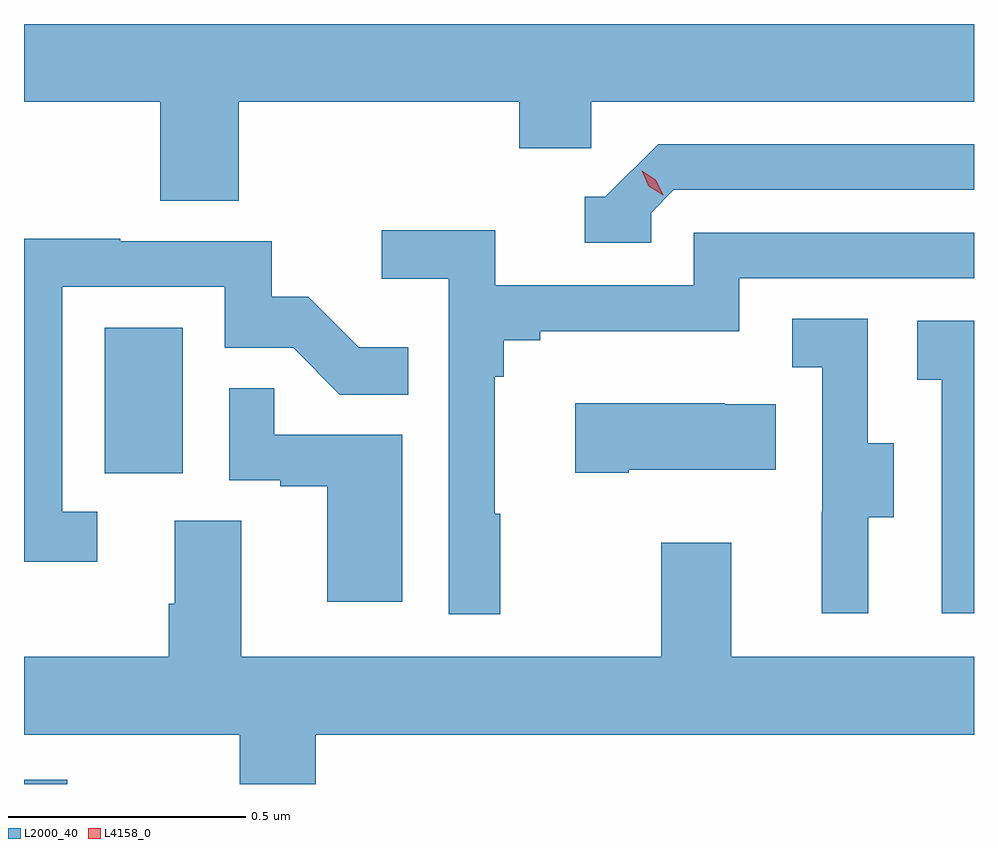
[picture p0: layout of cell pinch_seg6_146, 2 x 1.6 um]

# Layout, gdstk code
import gdstk
lib = gdstk.Library(unit=1e-6, precision=1e-09)
def R(c, l, rs):  # rectangles x0, y0, x1, y1
    for r in rs: c.add(gdstk.rectangle(r[:2], r[2:], *l))
def P(c, l, *ps):  # polygons
    for p in ps: c.add(gdstk.Polygon(p, *l))
L2000_40 = (2000, 40)
L4158_0 = (4158, 0)

pinch_seg6_146 = lib.new_cell('pinch_seg6_146')
R(pinch_seg6_146, L2000_40, [(974.118,917.928,974.209,917.937), (974.288,918.582,974.452,918.889)])
P(pinch_seg6_146, L2000_40, [(974.57,919.364),(975.161,919.364),(975.161,919.266),(975.312,919.266),(975.312,919.364),(976.118,919.364),(976.118,919.528),(974.118,919.528),(974.118,919.364),(974.405,919.364),(974.405,919.156),(974.57,919.156)],
  [(975.438,919.131),(975.486,919.179),(976.118,919.179),(976.118,919.275),(975.453,919.275),(975.342,919.164),(975.299,919.164),(975.299,919.068),(975.438,919.068)],
  [(975.121,918.497),(975.109,918.497),(975.109,918.785),(975.128,918.785),(975.128,918.862),(975.205,918.862),(975.205,918.881),(975.624,918.881),(975.624,918.993),(976.118,918.993),(976.118,919.089),(975.528,919.089),(975.528,918.978),(975.11,918.978),(975.11,919.094),(974.871,919.094),(974.871,918.992),(975.012,918.992),(975.012,918.285),(975.121,918.285)],
  [(974.272,918.501),(974.199,918.501),(974.199,918.975),(974.541,918.975),(974.541,918.846),(974.685,918.846),(974.783,918.748),(974.927,918.748),(974.927,918.847),(974.823,918.847),(974.716,918.954),(974.64,918.954),(974.64,919.071),(974.321,919.071),(974.321,919.076),(974.118,919.076),(974.118,918.396),(974.272,918.396)],
  [(975.895,918.49),(975.949,918.49),(975.949,918.645),(975.894,918.645),(975.894,918.908),(975.735,918.908),(975.735,918.805),(975.798,918.805),(975.798,918.501),(975.797,918.501),(975.797,918.288),(975.895,918.288)],
  [(976.118,918.903),(975.999,918.903),(975.999,918.779),(976.05,918.779),(976.05,918.288),(976.118,918.288)],
  [(974.914,918.663),(974.645,918.663),(974.645,918.761),(974.55,918.761),(974.55,918.567),(974.657,918.567),(974.657,918.555),(974.756,918.555),(974.756,918.312),(974.914,918.312)],
  [(975.391,918.59),(975.701,918.59),(975.701,918.727),(975.593,918.727),(975.593,918.73),(975.279,918.73),(975.279,918.583),(975.391,918.583)],
  [(974.732,918.032),(976.118,918.032),(976.118,918.196),(975.607,918.196),(975.607,918.436),(975.46,918.436),(975.46,918.196),(974.575,918.196),(974.575,918.482),(974.435,918.482),(974.435,918.308),(974.423,918.308),(974.423,918.196),(974.118,918.196),(974.118,918.032),(974.572,918.032),(974.572,917.928),(974.732,917.928)])
P(pinch_seg6_146, L4158_0, [(975.464,919.167),(975.433,919.186),(975.418,919.219),(975.418,919.219),(975.418,919.219),(975.448,919.2),(975.464,919.167),(975.464,919.167)])

lib.write_gds('pinch_seg6_146.gds')
